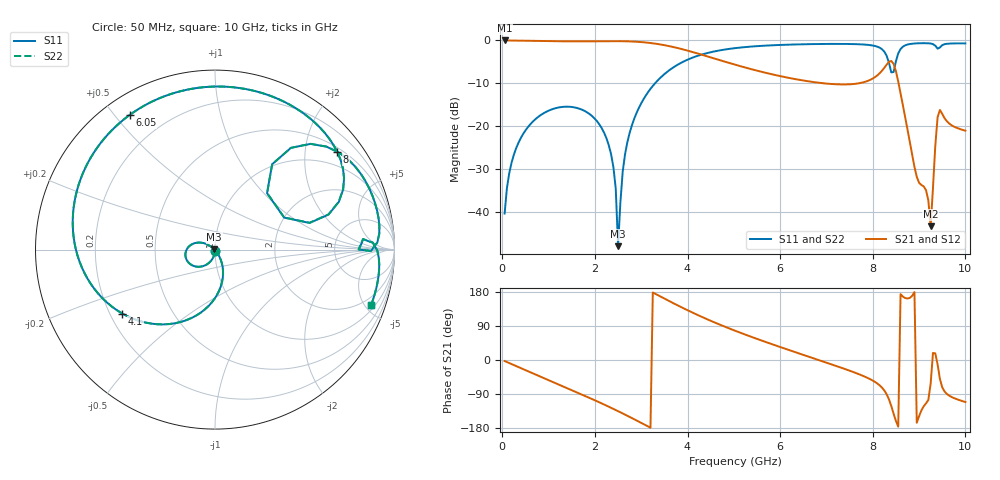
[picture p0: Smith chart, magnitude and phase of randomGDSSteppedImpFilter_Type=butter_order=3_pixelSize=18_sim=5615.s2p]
! freq	dB(S11)	phase(S11)	dB(S12)	phase(S12)
!  dB(S21)	phase(S21)	dB(S22)	phase(S22)
!S-par simulation data
#  GHz  S  DB  R 50
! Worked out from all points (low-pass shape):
!   200 points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, 50 MHz to 10 GHz, reference 50 ohm
!   highest |S21| = -0.01 dB at 50 MHz (marker M1); lowest = -43.4 dB at 9.25 GHz (marker M2)
!   |S21| within 3 dB of the highest: start of sweep to 4.206 GHz
!   lowest |S11| = -48.0 dB at 2.5 GHz (marker M3), VSWR 1.01, Z = 49.6 + j0.0842 ohm
!   |S11| at or under -10 dB: start of sweep to 3.298 GHz
!   |S22| runs from -47.5 to -0.6 dB; largest |S21 - S12| = 0
!   S11 on the Smith chart (normalised r, x): 50 MHz: 1.00, -0.02; 4.1 GHz: 0.25, -0.29; 6.05 GHz: 0.08, +0.55; 8 GHz: 0.60, +2.73; 10 GHz: 1.32, -5.50
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0.05  -40.40 -92.1  -0.01 -2.7  -0.01 -2.7  -40.40 -92.0
0.2  -28.53 -100.7  -0.02 -10.8  -0.02 -10.8  -28.53 -100.7
0.55  -20.27 -119.9  -0.08 -29.4  -0.08 -29.4  -20.26 -119.9
1.75  -16.30 176.8  -0.21 -92.7  -0.21 -92.7  -16.30 176.9
2.3  -24.46 147.6  -0.17 -123.3  -0.17 -123.3  -24.46 147.9
2.45  -34.57 143.6  -0.17 -132.0  -0.17 -132.0  -34.55 144.6
2.5  -47.99 167.7  -0.17 -135.0  -0.17 -135.0  -47.55 171.5
2.6  -30.62 -56.7  -0.18 -141.0  -0.18 -141.0  -30.61 -57.4
2.75  -21.57 -62.9  -0.23 -150.2  -0.23 -150.2  -21.57 -63.2
3.4  -8.84 -102.9  -0.91 168.5  -0.91 168.5  -8.84 -102.9
4.1  -4.05 -145.4  -2.68 125.5  -2.68 125.5  -4.05 -145.4
5.05  -1.77 165.8  -5.73 76.1  -5.73 76.1  -1.77 165.8
6.05  -1.03 122.4  -8.44 32.2  -8.44 32.2  -1.03 122.5
6.7  -0.85 95.9  -9.68 5.3  -9.68 5.3  -0.85 95.9
8  -1.19 38.7  -8.89 -54.3  -8.89 -54.3  -1.19 38.7
8.35  -5.23 15.7  -5.01 -103.9  -5.01 -103.9  -5.23 15.8
8.45  -7.38 47.3  -5.46 -141.9  -5.46 -141.9  -7.36 47.4
8.6  -2.00 47.9  -12.32 173.9  -12.32 173.9  -2.00 47.9
9.25  -0.73 5.6  -43.35 -62.2  -43.35 -62.2  -0.73 5.6
9.35  -1.22 -0.5  -24.55 17.5  -24.55 17.5  -1.23 -0.5
9.45  -1.64 4.0  -16.22 -50.0  -16.22 -50.0  -1.65 4.1
10  -0.70 -19.5  -21.06 -110.9  -21.06 -110.9  -0.70 -19.5
